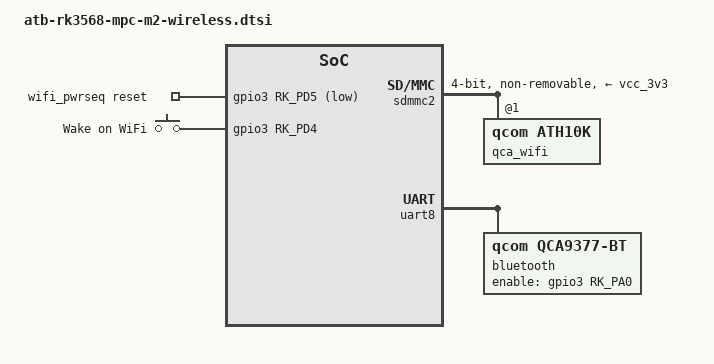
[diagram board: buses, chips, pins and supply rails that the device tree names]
#include <dt-bindings/input/input.h>

/ {
	wifi_pwrseq: wifi-pwrseq {
		compatible = "mmc-pwrseq-simple";
		clocks = <&rtc_clock>;
		clock-names = "ext_clock";
		pinctrl-names = "default";
		pinctrl-0 = <&wlan_en_pin>;

		/* Toggle WIFI_ENABLE to reset the chip. */
		reset-gpios = <&gpio3 RK_PD5 GPIO_ACTIVE_LOW>;
	};

	wifi_wakeup: wifi-wakeup {
		compatible = "gpio-keys";
		pinctrl-names = "default";
		pinctrl-0 = <&wlan_wakeup_pin>;

		wowlan {
			label = "Wake on WiFi";
			gpios = <&gpio3 RK_PD4 GPIO_ACTIVE_HIGH>;
			linux,code = <KEY_WAKEUP>;
			wakeup-source;
		};
	};
};

&sdmmc2 {
	// WiFi & BT combo module Fn-Link FG6233ASRB-01 / Fn-Link 8223A-SR
	mmc-pwrseq = <&wifi_pwrseq>;
	pinctrl-names = "default";
	pinctrl-0 = <&sdmmc2m0_bus4 &sdmmc2m0_clk &sdmmc2m0_cmd>;
	vmmc-supply = <&vcc_3v3>;
	vqmmc-supply = <&vcc_1v8>;

	bus-width = <4>;
	max-frequency = <50000000>;
	drv-type = <2>;
	cap-sd-highspeed;
	sd-uhs-sdr50;
	sd-uhs-sdr104;
	keep-power-in-suspend;
	enable-sdio-wakeup;
	cap-sdio-irq;
	non-removable;
	no-mmc;
	no-sd;

	#address-cells = <1>;
	#size-cells = <0>;
	rockchip,default-sample-phase = <90>;
	status = "okay";

	qca_wifi: qca-wifi@1 {
		reg = <1>;
		compatible = "qcom,ath10k";
	};
};

&uart8 {
	pinctrl-names = "default";
	pinctrl-0 = <&uart8m0_xfer &uart8m0_ctsn &uart8m0_rtsn>;
	uart-has-rtscts;
	status = "okay";

	bluetooth {
		compatible = "qcom,qca9377-bt";

		// BT_EN
		enable-gpios = <&gpio3 RK_PA0 GPIO_ACTIVE_HIGH>;
		max-speed = <2000000>;
		pinctrl-names = "default";
		pinctrl-0 = <&bt_en_pin>;
	};
};

&pinctrl {

	wireless {

		// wifiL_EN
		wlan_en_pin: wlan-en-pin {
			rockchip,pins = <3 RK_PD5 RK_FUNC_GPIO &pcfg_pull_none>;
		};

		// wifi wakeup
		wlan_wakeup_pin: wlan-wakeup-pin {
			rockchip,pins = <3 RK_PD4 RK_FUNC_GPIO &pcfg_pull_none>;
		};

		// BT_EN
		bt_en_pin: bt-en-pin {
			rockchip,pins = <3 RK_PA0 RK_FUNC_GPIO &pcfg_pull_none>;
		};
	};
};
